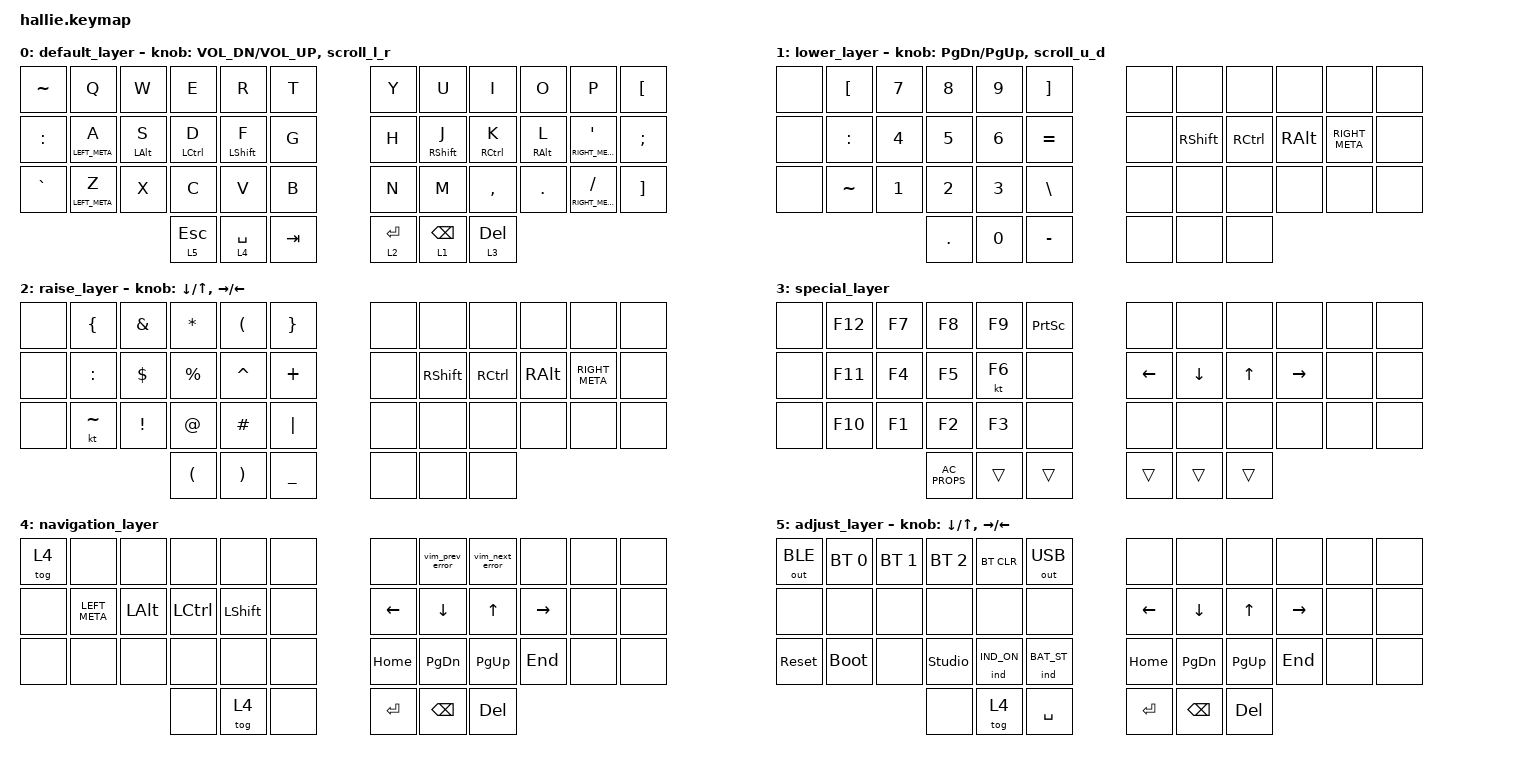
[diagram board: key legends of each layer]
#include <dt-bindings/zmk/indicators.h>
#include <behaviors.dtsi>
#include <dt-bindings/zmk/bt.h>
#include <dt-bindings/zmk/keys.h>
#include <dt-bindings/zmk/outputs.h>

// Определения слоев

#define DEF 0 // Default
#define LWR 1 // Lower
#define RSE 2 // Raise
#define SPE 3 // Special
#define NAV 4 // Navigation
#define ADJ 5 // Adjust

// Глобальные настройки поведений

&lt {
    quick_tap_ms = <200>;
    tapping-term-ms = <200>;
    flavor = "tap-preferred";
    require-prior-idle-ms = <125>;
};

&mt {
    quick_tap_ms = <200>;
    tapping-term-ms = <200>;
    flavor = "tap-preferred";
    require-prior-idle-ms = <125>;
};

/ {
    // Определение макросов для vim

    macros {
        vim_next_error: vim_next_error {
            compatible = "zmk,behavior-macro";
            #binding-cells = <0>;
            bindings = <&kp RIGHT_BRACKET &kp E>;
        };

        vim_prev_error: vim_prev_error {
            compatible = "zmk,behavior-macro";
            #binding-cells = <0>;
            bindings = <&kp LEFT_BRACKET &kp E>;
        };
    };

    keymap {
        compatible = "zmk,keymap";

        default_layer {
            bindings = <
&kp TILDE  &kp Q            &kp W           &kp E         &kp R             &kp T      &kp Y        &kp U              &kp I         &kp O            &kp P                 &kp LEFT_BRACKET
&kp COLON  &mt LEFT_META A  &mt LEFT_ALT S  &mt LCTRL D   &mt LEFT_SHIFT F  &kp G      &kp H        &mt RIGHT_SHIFT J  &mt RCTRL K   &mt RIGHT_ALT L  &mt RIGHT_META SQT    &kp SEMICOLON
&kp GRAVE  &mt LEFT_META Z  &kp X           &kp C         &kp V             &kp B      &kp N        &kp M              &kp COMMA     &kp DOT          &mt RIGHT_META SLASH  &kp RIGHT_BRACKET
                                            &lt 5 ESCAPE  &lt 4 SPACE       &kp TAB    &lt 2 ENTER  &lt 1 BACKSPACE    &lt 3 DELETE
            >;

            sensor-bindings = <&inc_dec_kp C_VOL_DN C_VOL_UP &scroll_l_r>;
        };

        lower_layer {
            bindings = <
&none  &kp LEFT_BRACKET  &kp NUMBER_7  &kp NUMBER_8  &kp NUMBER_9  &kp RIGHT_BRACKET    &none  &none            &none      &none          &none           &none
&none  &kp COLON         &kp NUMBER_4  &kp NUMBER_5  &kp NUMBER_6  &kp EQUAL            &none  &kp RIGHT_SHIFT  &kp RCTRL  &kp RIGHT_ALT  &kp RIGHT_META  &none
&none  &kp TILDE         &kp NUMBER_1  &kp NUMBER_2  &kp NUMBER_3  &kp BACKSLASH        &none  &none            &none      &none          &none           &none
                                       &kp DOT       &kp NUMBER_0  &kp MINUS            &none  &none            &none
            >;

            sensor-bindings = <&inc_dec_kp PG_DN PG_UP &scroll_u_d>;
        };

        raise_layer {
            bindings = <
&none  &kp LEFT_BRACE  &kp AMPERSAND    &kp ASTERISK          &kp LEFT_PARENTHESIS   &kp RIGHT_BRACE    &none  &none            &none      &none          &none           &none
&none  &kp COLON       &kp DOLLAR       &kp PERCENT           &kp CARET              &kp PLUS           &none  &kp RIGHT_SHIFT  &kp RCTRL  &kp RIGHT_ALT  &kp RIGHT_META  &none
&none  &kt TILDE       &kp EXCLAMATION  &kp AT                &kp HASH               &kp PIPE           &none  &none            &none      &none          &none           &none
                                        &kp LEFT_PARENTHESIS  &kp RIGHT_PARENTHESIS  &kp UNDER          &none  &none            &none
            >;

            sensor-bindings = <&inc_dec_kp DOWN_ARROW UP_ARROW &inc_dec_kp RIGHT_ARROW LEFT_ARROW>;
        };

        special_layer {
            bindings = <
&none  &kp F12  &kp F7  &kp F8          &kp F9  &kp PRINTSCREEN    &none           &none           &none         &none            &none  &none
&none  &kp F11  &kp F4  &kp F5          &kt F6  &none              &kp LEFT_ARROW  &kp DOWN_ARROW  &kp UP_ARROW  &kp RIGHT_ARROW  &none  &none
&none  &kp F10  &kp F1  &kp F2          &kp F3  &none              &none           &none           &none         &none            &none  &none
                        &kp C_AC_PROPS  &trans  &trans             &trans          &trans          &trans
            >;
        };

        navigation_layer {
            bindings = <
&tog 4  &none          &none         &none             &none           &none    &none           &vim_prev_error  &vim_next_error  &none      &none  &none
&none   &kp LEFT_META  &kp LEFT_ALT  &kp LEFT_CONTROL  &kp LEFT_SHIFT  &none    &kp LEFT_ARROW  &kp DOWN_ARROW   &kp UP_ARROW     &kp RIGHT  &none  &none
&none   &none          &none         &none             &none           &none    &kp HOME        &kp PAGE_DOWN    &kp PAGE_UP      &kp END    &none  &none
                                     &none             &tog 4          &none    &kp ENTER       &kp BACKSPACE    &kp DELETE
            >;
        };

        adjust_layer {
            bindings = <
&out OUT_BLE  &bt BT_SEL 0  &bt BT_SEL 1  &bt BT_SEL 2    &bt BT_CLR   &out OUT_USB    &none      &none           &none         &none            &none  &none
&none         &none         &none         &none           &none        &none           &kp LEFT   &kp DOWN_ARROW  &kp UP_ARROW  &kp RIGHT_ARROW  &none  &none
&sys_reset    &bootloader   &none         &studio_unlock  &ind IND_ON  &ind BAT_ST     &kp HOME   &kp PAGE_DOWN   &kp PAGE_UP   &kp END          &none  &none
                                          &none           &tog 4       &kp SPACE       &kp ENTER  &kp BACKSPACE   &kp DELETE
            >;

            sensor-bindings = <&inc_dec_kp DOWN_ARROW UP_ARROW &inc_dec_kp RIGHT_ARROW LEFT_ARROW>;
        };

        // Зарезервированные слои

        extra1 { status = "reserved"; };

        extra2 { status = "reserved"; };

        extra3 { status = "reserved"; };

        extra4 { status = "reserved"; };
    };
};
